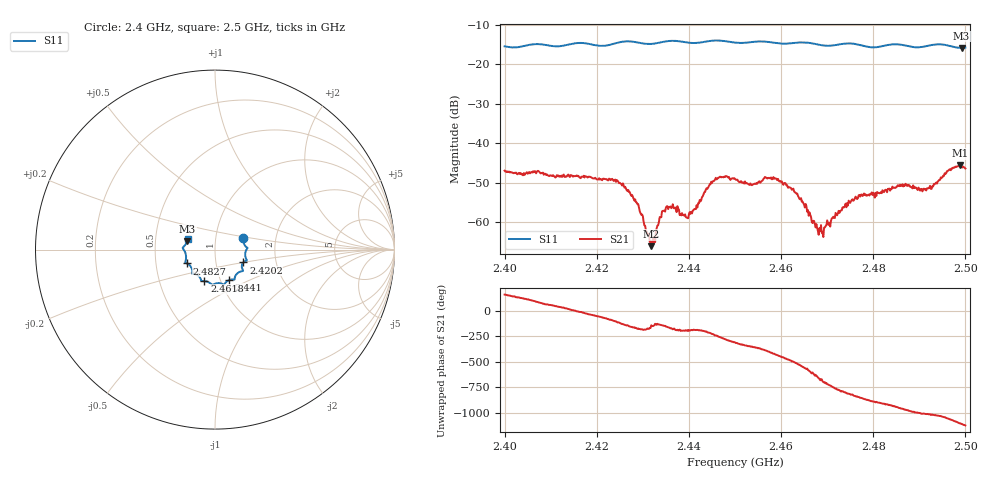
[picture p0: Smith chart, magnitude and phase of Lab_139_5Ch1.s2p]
# Hz S RI R 50
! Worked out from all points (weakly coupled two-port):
!   601 points, 2.4 GHz to 2.5 GHz, reference 50 ohm
!   highest |S21| = -45.62 dB at 2.4988 GHz (marker M1); lowest = -66.1 dB at 2.4318 GHz (marker M2)
!   lowest |S11| = -15.8 dB at 2.4992 GHz (marker M3), VSWR 1.39, Z = 36.5 + j3.65 ohm
!   |S11| at or under -10 dB: start of sweep to end of sweep
!   S12 and S22 are empty: the file has one direction only
!   S11 on the Smith chart (normalised r, x): 2.4 GHz: 1.36, +0.18; 2.4202 GHz: 1.36, -0.20; 2.441 GHz: 1.10, -0.39; 2.4618 GHz: 0.84, -0.30; 2.4827 GHz: 0.72, -0.12; 2.5 GHz: 0.73, +0.09
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2.4e9  0.158 0.0628  -0.00418 0.00162  0 0  0 0
2.416667e9  0.1774 -0.0606  0.00367 -0.000816  0 0  0 0
2.420167e9  0.1582 -0.0714  0.00203 -0.00282  0 0  0 0
2.426667e9  0.1567 -0.1185  -0.00194 -0.00152  0 0  0 0
2.428833e9  0.1469 -0.1205  -0.00168 -7.62e-05  0 0  0 0
2.431833e9  0.1194 -0.1375  -0.000391 -0.000301  0 0  0 0
2.433333e9  0.1115 -0.151  -0.00064 -0.000652  0 0  0 0
2.4355e9  0.1093 -0.165  -0.00139 -0.000449  0 0  0 0
2.439333e9  0.0947 -0.1659  -0.00113 0.000202  0 0  0 0
2.441e9  0.0785 -0.1697  -0.00141 0.000138  0 0  0 0
2.445333e9  0.0515 -0.1941  -0.00209 0.00257  0 0  0 0
2.45e9  0.0284 -0.187  0.00224 0.00272  0 0  0 0
2.461833e9  -0.0593 -0.1752  -0.00151 -0.0023  0 0  0 0
2.466667e9  -0.0783 -0.1682  -0.000303 0.000968  0 0  0 0
2.468667e9  -0.0852 -0.1539  0.000577 0.000705  0 0  0 0
2.475833e9  -0.1274 -0.1313  -0.000724 -0.00176  0 0  0 0
2.482667e9  -0.156 -0.0773  -0.00245 0.000775  0 0  0 0
2.483333e9  -0.1603 -0.0754  -0.00242 0.00102  0 0  0 0
2.491667e9  -0.1713 -0.00454  0.000976 0.0025  0 0  0 0
2.498833e9  -0.1561 0.0441  0.00487 -0.00193  0 0  0 0
2.499167e9  -0.1545 0.0487  0.00445 -0.00235  0 0  0 0
2.5e9  -0.1523 0.0609  0.00352 -0.00323  0 0  0 0
